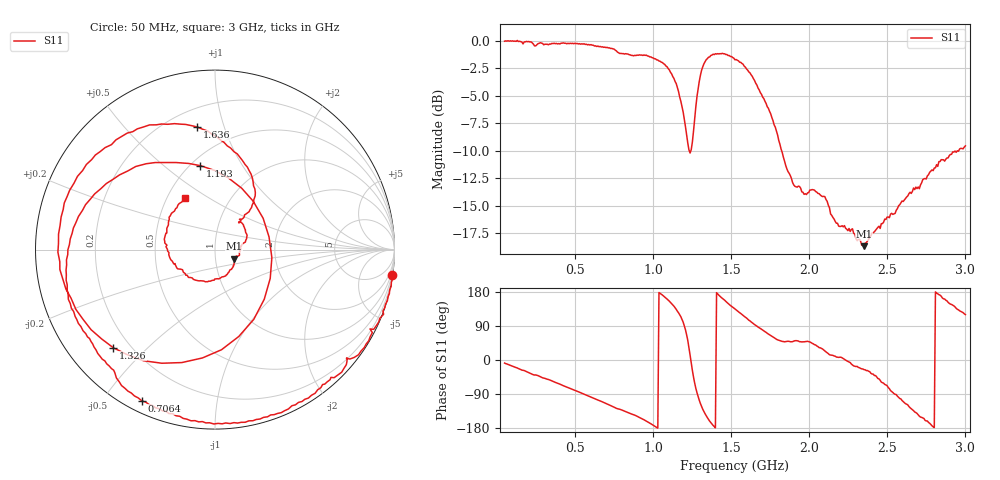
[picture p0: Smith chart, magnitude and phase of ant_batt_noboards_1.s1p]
! nanovna_capture.py 2026-11-02T23:16:01+0900
! NanoVNA-F_V2 fw 0.6.0 SN 4A3639384505514B
! cal: load open short cal'ed  over 50000000-3000000000 Hz, 201 points
! points 401, avg 4
! implant antenna in the shell, battery back in, no boards (user: 'battery back in, no boards'), same coax routing
# HZ S RI R 50
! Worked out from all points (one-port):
!   401 points, 50 MHz to 3 GHz, reference 50 ohm
!   lowest |S11| = -18.7 dB at 2.351 GHz (marker M1), VSWR 1.26, Z = 61.4 - j6.23 ohm
!   |S11| at or under -10 dB: 1.233 GHz to 1.242 GHz (9.64 MHz wide, 0.779 % of centre); 1.824 GHz to 2.948 GHz (1.124 GHz wide, 47.1 % of centre); 2.95032 GHz to 2.956801 GHz (6.481 MHz wide, 0.219 % of centre)
!   S11 on the Smith chart (normalised r, x): 50 MHz: 0, -14; 706.4 MHz: 0.05, -0.63; 1.193 GHz: 0.56, +0.67; 1.326 GHz: 0.14, -0.40; 1.636 GHz: 0.31, +0.82; 3 GHz: 0.62, +0.40
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5e7  0.9885 -0.14
1.90125e8  0.8567 -0.5077
4.1875e8  0.3871 -0.8979
5.58875e8  -0.00599 -0.9715
7.06375e8  -0.4079 -0.8423
7.875e8  -0.5645 -0.6719
9.12875e8  -0.7613 -0.4111
1.016125e9  -0.8276 -0.0577
1.089875e9  -0.7215 0.2502
1.15625e9  -0.3831 0.4784
1.193125e9  -0.0818 0.4678
1.222625e9  0.2123 0.2703
1.252125e9  0.3077 -0.1606
1.289e9  -0.0699 -0.6036
1.325875e9  -0.5675 -0.5461
1.355375e9  -0.7752 -0.3329
1.399625e9  -0.8753 -0.0145
1.458625e9  -0.8099 0.3302
1.525e9  -0.5767 0.5847
1.576625e9  -0.3645 0.6947
1.635625e9  -0.1 0.6834
1.753625e9  0.2008 0.421
1.89375e9  0.1504 0.1698
2.2625e9  0.135 -0.0161
2.351e9  0.1052 -0.05
2.63125e9  -0.0942 -0.1734
2.830375e9  -0.28 0.0373
3e9  -0.166 0.2891
